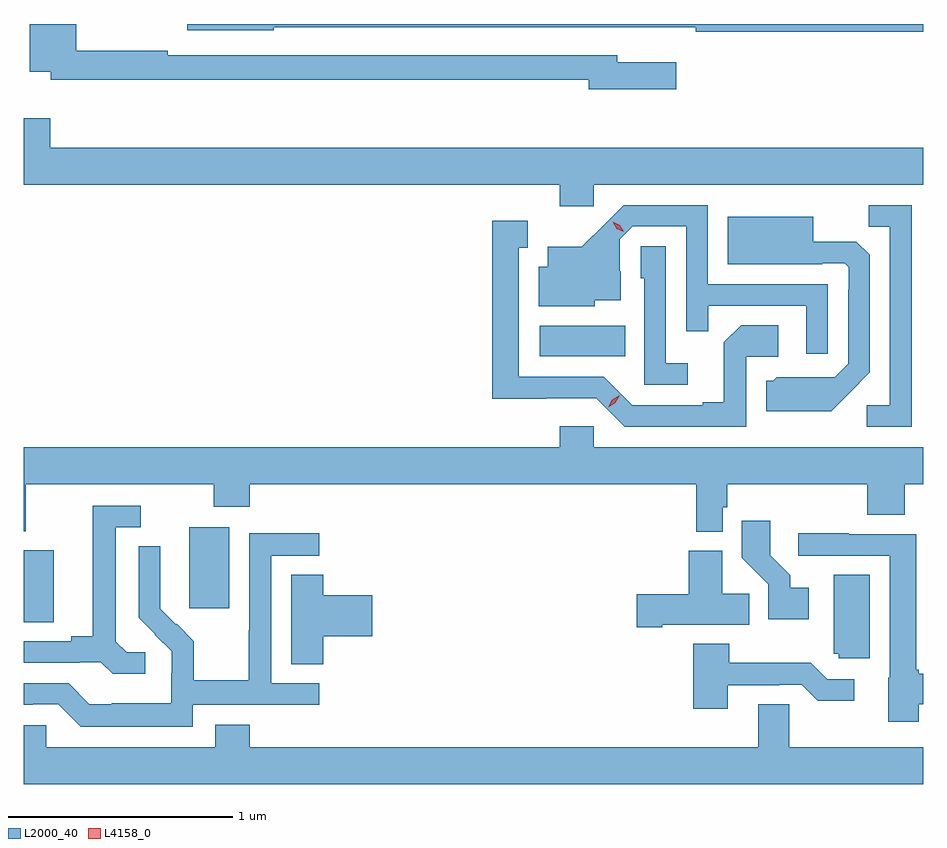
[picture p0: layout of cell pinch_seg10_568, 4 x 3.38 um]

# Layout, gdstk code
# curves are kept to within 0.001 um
import gdstk
lib = gdstk.Library(unit=1e-6, precision=1e-09)
def R(c, l, rs):  # rectangles x0, y0, x1, y1
    for r in rs: c.add(gdstk.rectangle(r[:2], r[2:], *l))
def P(c, l, *ps):  # polygons
    for p in ps: c.add(gdstk.Polygon(p, *l))
L2000_40 = (2000, 40)
L4158_0 = (4158, 0)

pinch_seg10_568 = lib.new_cell('pinch_seg10_568')
R(pinch_seg10_568, L2000_40, [(363.298,1274.395,363.433,1274.715), (364.034,1274.457,364.213,1274.818), (365.592,1275.578,365.972,1275.712)])
P(pinch_seg10_568, L2000_40, [(367.298,1277.054),(364.026,1277.054),(364.026,1277.027),(364.41,1277.027),(364.41,1277.04),(366.034,1277.04),(366.034,1277.039),(366.286,1277.039),(366.286,1277.02),(367.298,1277.02)],
  [(366.199,1276.885),(365.938,1276.885),(365.938,1276.914),(363.938,1276.914),(363.938,1276.934),(363.533,1276.934),(363.533,1277.054),(363.326,1277.054),(363.326,1276.841),(363.42,1276.841),(363.42,1276.806),(365.81,1276.806),(365.81,1276.763),(366.199,1276.763)],
  [(365.832,1276.34),(367.298,1276.34),(367.298,1276.504),(363.416,1276.504),(363.416,1276.636),(363.298,1276.636),(363.298,1276.34),(365.681,1276.34),(365.681,1276.245),(365.832,1276.245)],
  [(367.245,1276.248),(367.054,1276.248),(367.054,1276.153),(367.149,1276.153),(367.149,1275.36),(367.047,1275.36),(367.047,1275.264),(367.245,1275.264)],
  [(366.873,1275.897),(366.339,1275.897),(366.339,1276.248),(365.966,1276.248),(365.779,1276.063),(365.627,1276.063),(365.627,1275.976),(365.588,1275.976),(365.588,1275.8),(365.838,1275.8),(365.838,1275.827),(365.953,1275.827),(365.953,1275.956),(365.949,1275.956),(365.949,1276.098),(366.006,1276.155),(366.243,1276.155),(366.243,1275.688),(366.341,1275.688),(366.341,1275.801),(366.777,1275.801),(366.777,1275.588),(366.873,1275.588)],
  [(366.967,1275.413),(367.059,1275.506),(367.059,1276.028),(367,1276.087),(366.808,1276.087),(366.808,1276.198),(366.428,1276.198),(366.428,1275.986),(366.848,1275.986),(366.848,1275.99),(366.948,1275.99),(366.966,1275.972),(366.966,1275.872),(366.963,1275.872),(366.963,1275.543),(366.903,1275.483),(366.646,1275.484),(366.63,1275.468),(366.599,1275.468),(366.599,1275.332),(366.887,1275.332)],
  [(366.51,1275.576),(366.652,1275.576),(366.652,1275.716),(366.487,1275.716),(366.411,1275.64),(366.411,1275.373),(366.317,1275.373),(366.317,1275.36),(366.003,1275.36),(365.877,1275.486),(365.5,1275.486),(365.5,1276.059),(365.539,1276.059),(365.539,1276.18),(365.382,1276.18),(365.382,1275.389),(365.844,1275.39),(365.97,1275.264),(366.51,1275.264)],
  [(366.25,1275.547),(366.153,1275.547),(366.153,1276.067),(366.042,1276.067),(366.042,1275.924),(366.057,1275.924),(366.057,1275.45),(366.25,1275.45)],
  [(366.405,1274.907),(366.425,1274.907),(366.425,1275.008),(367.049,1275.008),(367.049,1274.872),(367.214,1274.872),(367.214,1275.008),(367.298,1275.008),(367.298,1275.172),(365.832,1275.172),(365.832,1275.265),(365.681,1275.265),(365.681,1275.172),(363.298,1275.172),(363.298,1274.8),(363.307,1274.8),(363.307,1275.008),(364.144,1275.008),(364.144,1274.909),(364.304,1274.909),(364.304,1275.008),(366.289,1275.008),(366.289,1274.798),(366.405,1274.798)],
  [(363.838,1274.262),(363.756,1274.262),(363.709,1274.309),(363.709,1274.817),(363.82,1274.817),(363.82,1274.913),(363.605,1274.913),(363.605,1274.333),(363.509,1274.333),(363.509,1274.31),(363.298,1274.31),(363.298,1274.214),(363.548,1274.214),(363.548,1274.217),(363.642,1274.217),(363.694,1274.165),(363.838,1274.165)],
  [(366.787,1274.548),(366.706,1274.548),(366.706,1274.603),(366.616,1274.693),(366.616,1274.845),(366.49,1274.845),(366.49,1274.682),(366.609,1274.563),(366.609,1274.408),(366.787,1274.408)],
  [(367.278,1274.03),(367.298,1274.03),(367.298,1274.165),(367.278,1274.165),(367.278,1274.183),(367.265,1274.183),(367.265,1274.787),(366.965,1274.787),(366.965,1274.79),(366.741,1274.79),(366.741,1274.691),(367.149,1274.691),(367.149,1274.148),(367.142,1274.148),(367.142,1273.952),(367.278,1273.952)],
  [(364.05,1274.028),(364.612,1274.028),(364.612,1274.124),(364.398,1274.124),(364.398,1274.691),(364.612,1274.691),(364.612,1274.79),(364.302,1274.79),(364.302,1274.36),(364.3,1274.36),(364.3,1274.137),(364.055,1274.137),(364.055,1274.311),(363.978,1274.388),(363.975,1274.385),(363.905,1274.456),(363.906,1274.732),(363.81,1274.732),(363.81,1274.414),(363.956,1274.266),(363.956,1274.169),(363.954,1274.169),(363.954,1274.035),(363.691,1274.035),(363.691,1274.031),(363.591,1274.031),(363.498,1274.124),(363.298,1274.124),(363.298,1274.028),(363.338,1274.028),(363.338,1274.031),(363.453,1274.031),(363.553,1273.931),(364.05,1273.931)],
  [(366.136,1274.384),(366.524,1274.384),(366.524,1274.522),(366.403,1274.522),(366.403,1274.713),(366.254,1274.713),(366.254,1274.519),(366.024,1274.519),(366.024,1274.372),(366.136,1274.372)],
  [(364.631,1274.333),(364.849,1274.333),(364.849,1274.516),(364.631,1274.516),(364.631,1274.606),(364.487,1274.606),(364.487,1274.209),(364.631,1274.209)],
  [(367.06,1274.605),(366.899,1274.605),(366.899,1274.256),(366.921,1274.256),(366.921,1274.235),(367.06,1274.235)],
  [(366.427,1274.115),(366.656,1274.115),(366.656,1274.118),(366.756,1274.118),(366.829,1274.045),(366.991,1274.045),(366.991,1274.142),(366.87,1274.142),(366.797,1274.215),(366.435,1274.215),(366.435,1274.299),(366.275,1274.299),(366.275,1274.01),(366.427,1274.01)],
  [(367.298,1273.84),(366.702,1273.84),(366.702,1274.03),(366.563,1274.03),(366.563,1273.84),(364.304,1273.84),(364.304,1273.939),(364.151,1273.939),(364.151,1273.84),(363.399,1273.84),(363.399,1273.938),(363.298,1273.938),(363.298,1273.676),(367.298,1273.676)])
P(pinch_seg10_568, L4158_0, [(365.965,1276.13),(365.934,1276.145),(365.916,1276.175),(365.916,1276.175),(365.916,1276.175),(365.947,1276.16),(365.965,1276.131),(365.965,1276.13)],
  [(365.897,1275.351),(365.897,1275.351),(365.915,1275.384),(365.947,1275.403),(365.947,1275.403),(365.947,1275.403),(365.929,1275.37),(365.898,1275.351)])

lib.write_gds('pinch_seg10_568.gds')
